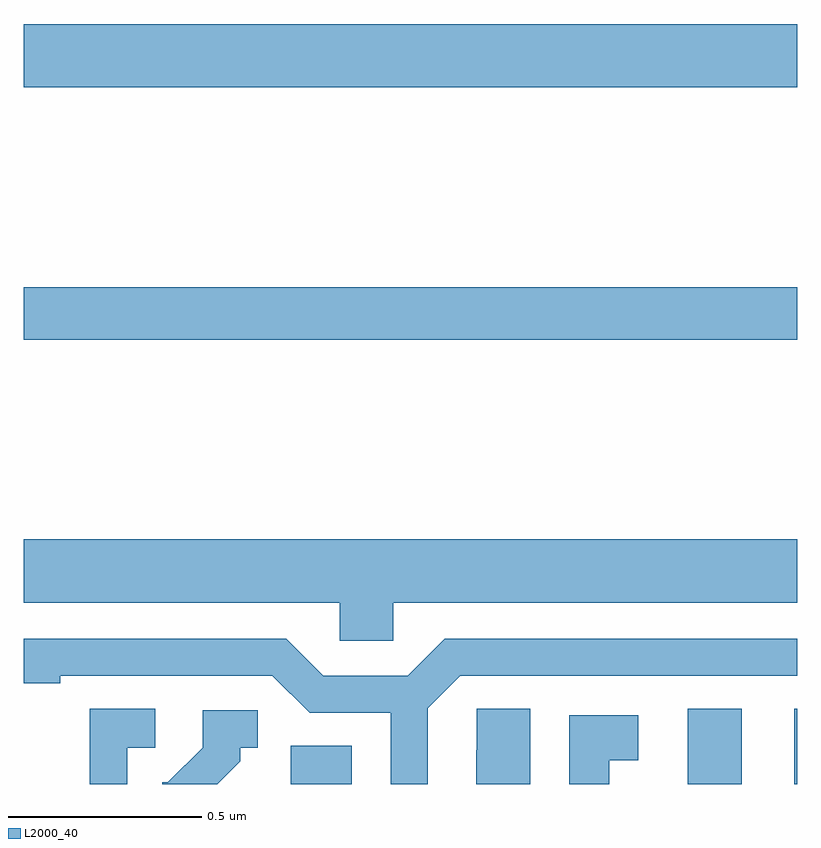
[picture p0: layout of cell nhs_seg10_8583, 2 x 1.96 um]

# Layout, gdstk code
import gdstk
lib = gdstk.Library(unit=1e-6, precision=1e-09)
def R(c, l, rs):  # rectangles x0, y0, x1, y1
    for r in rs: c.add(gdstk.rectangle(r[:2], r[2:], *l))
def P(c, l, *ps):  # polygons
    for p in ps: c.add(gdstk.Polygon(p, *l))
L2000_40 = (2000, 40)

nhs_seg10_8583 = lib.new_cell('nhs_seg10_8583')
R(nhs_seg10_8583, L2000_40, [(218.69,1314.5,218.848,1314.599), (219.716,1314.5,219.856,1314.694), (219.992,1314.5,220,1314.694), (218,1315.648,220,1315.784), (218,1316.3,220,1316.464)])
P(nhs_seg10_8583, L2000_40, [(218.955,1314.968),(220,1314.968),(220,1315.132),(218,1315.132),(218,1314.968),(218.817,1314.968),(218.817,1314.87),(218.955,1314.87)],
  [(219.045,1314.696),(219.129,1314.78),(220,1314.78),(220,1314.876),(219.089,1314.876),(218.993,1314.78),(218.775,1314.78),(218.679,1314.876),(218,1314.876),(218,1314.76),(218.095,1314.76),(218.095,1314.78),(218.643,1314.78),(218.739,1314.684),(218.949,1314.684),(218.949,1314.5),(219.045,1314.5)],
  [(218.268,1314.594),(218.341,1314.594),(218.341,1314.695),(218.171,1314.695),(218.171,1314.5),(218.268,1314.5)],
  [(219.31,1314.695),(219.171,1314.695),(219.171,1314.587),(219.17,1314.587),(219.17,1314.5),(219.31,1314.5)],
  [(218.56,1314.559),(218.56,1314.594),(218.605,1314.594),(218.605,1314.69),(218.463,1314.69),(218.463,1314.594),(218.373,1314.504),(218.358,1314.504),(218.358,1314.5),(218.501,1314.5)],
  [(219.514,1314.562),(219.589,1314.562),(219.589,1314.678),(219.41,1314.678),(219.41,1314.5),(219.514,1314.5)])

lib.write_gds('nhs_seg10_8583.gds')
